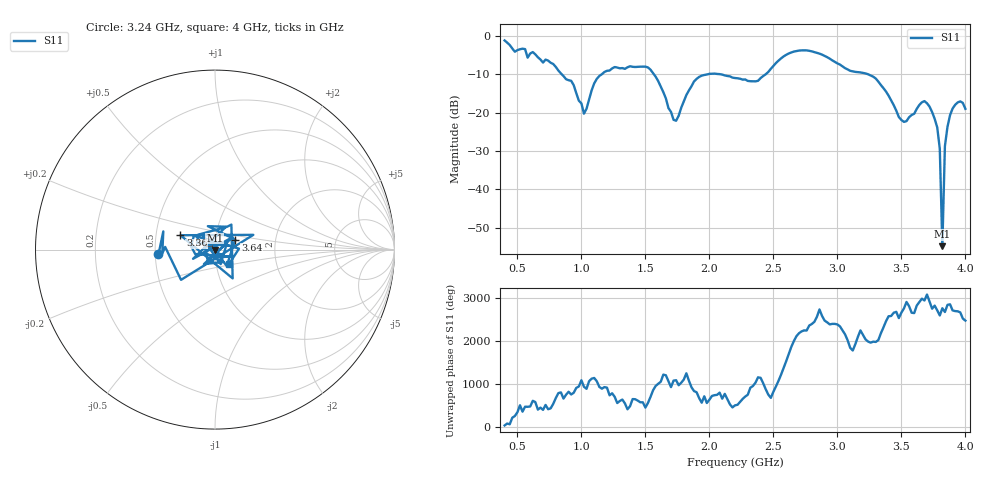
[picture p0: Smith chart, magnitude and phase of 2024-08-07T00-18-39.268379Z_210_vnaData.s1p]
!Created with skrf (http://scikit-rf.org).
# Hz S RI R 50.0
!freq ReS11 ImS11
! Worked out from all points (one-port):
!   181 points, 400 MHz to 4 GHz, reference 50 ohm
!   lowest |S11| = -54.8 dB at 3.82 GHz (marker M1), VSWR 1.00, Z = 49.9 - j0.163 ohm
!   |S11| at or under -10 dB: 1.566 GHz to 1.988 GHz (421.8 MHz wide, 23.7 % of centre); 2.086 GHz to 2.44 GHz (353.8 MHz wide, 15.6 % of centre); 3.24 GHz to end of sweep (the widest 3 of 4)
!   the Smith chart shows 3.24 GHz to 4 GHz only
!   S11 on the Smith chart (normalised r, x): 3.24 GHz: 0.52, -0.03; 3.36 GHz: 0.67, +0.11; 3.64 GHz: 1.25, +0.14; 4 GHz: 1.15, -0.19
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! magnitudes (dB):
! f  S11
! 400 MHz  -1.2
! 860 MHz  -10.5
! 940 MHz  -12.8
! 1.02 GHz  -20.3
! 1.12 GHz  -11.2
! 1.3 GHz  -8.4
! 1.52 GHz  -8.2
! 1.6 GHz  -11.8
! 1.72 GHz  -21.9
! 1.76 GHz  -20.8
! 1.92 GHz  -10.7
! 2.2 GHz  -11.0
! 2.38 GHz  -11.7
! 2.66 GHz  -4.1
! 3.1 GHz  -9.1
! 3.24 GHz  -10.0
! 3.36 GHz  -13.6
! 3.5 GHz  -21.9
! 3.56 GHz  -21.2
! 3.64 GHz  -18.0
! 3.7 GHz  -17.5
! 3.78 GHz  -23.8
! 3.8 GHz  -29.4
! 3.82 GHz  -54.8
! 3.84 GHz  -28.7
! 3.86 GHz  -23.7
! 3.92 GHz  -18.0
! 4 GHz  -19.0
